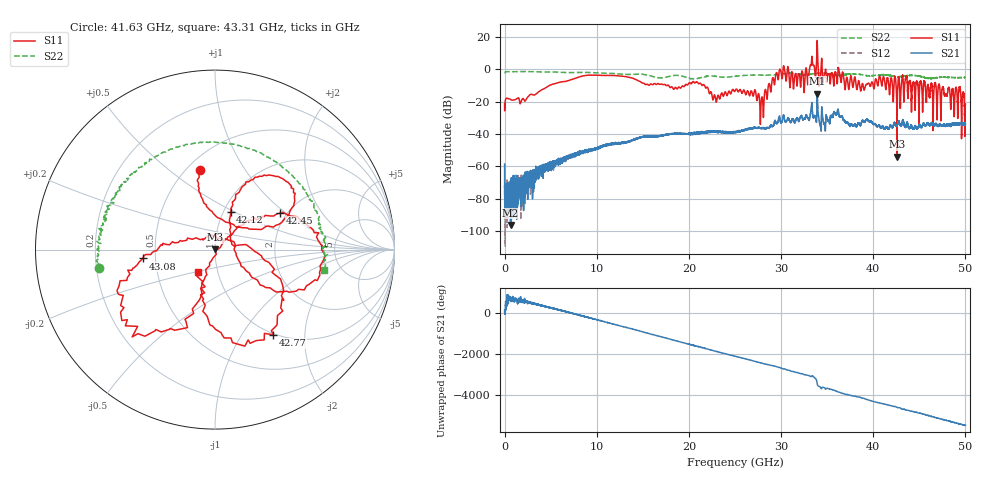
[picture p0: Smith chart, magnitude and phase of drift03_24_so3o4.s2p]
!Created with skrf (http://scikit-rf.org).
# Hz S RI R 50.0
!freq ReS11 ImS11 ReS21 ImS21 ReS12 ImS12 ReS22 ImS22
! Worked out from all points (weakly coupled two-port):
!   10001 points, 300 kHz to 50 GHz, reference 50 ohm
!   highest |S21| = -14.96 dB at 33.92 GHz (marker M1); lowest = -96.2 dB at 645.3 MHz (marker M2)
!   lowest |S11| = -54.1 dB at 42.58 GHz (marker M3), VSWR 1.00, Z = 50.1 + j0.138 ohm
!   |S11| at or under -10 dB: start of sweep to 4.849 GHz; 21.69 GHz to 28.62 GHz (6.933 GHz wide, 27.6 % of centre); 47.19 GHz to end of sweep (the widest 3 of 43)
!   |S22| runs from -5.9 to -1.3 dB; largest |S21 - S12| = 0.022
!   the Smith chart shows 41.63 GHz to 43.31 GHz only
!   S11 on the Smith chart (normalised r, x): 41.63 GHz: 0.58, +0.64; 42.12 GHz: 1.08, +0.48; 42.45 GHz: 1.85, +0.92; 42.77 GHz: 0.98, -1.40; 43.08 GHz: 0.42, -0.05; 43.31 GHz: 0.80, -0.20
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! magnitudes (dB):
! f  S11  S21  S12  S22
! 300 kHz  -21.3  -58.6  -73.8  -2.0
! 255.3 MHz  -17.9  -72.9  -75.6  -1.4
! 645.3 MHz  -18.6  -96.2  -85.4  -1.5
! 8.335 GHz  -4.3  -51.6  -51.4  -1.9
! 16.67 GHz  -8.8  -41.5  -41.4  -5.2
! 21.01 GHz  -8.8  -39.3  -39.4  -5.5
! 22.81 GHz  -16.1  -38.8  -38.8  -4.3
! 25 GHz  -13.4  -38.8  -38.7  -4.3
! 27.92 GHz  -17.2  -36.4  -36.2  -3.5
! 29.69 GHz  -6.5  -32.0  -31.5  -3.1
! 32.32 GHz  -1.5  -30.4  -30.8  -3.3
! 33.34 GHz  8.0  -20.5  -20.8  -2.9
! 33.92 GHz  17.9  -15.0  -15.3  -2.5
! 41.63 GHz  -7.0  -36.9  -36.6  -3.7
! 41.67 GHz  -9.1  -37.0  -36.7  -3.7
! 42.12 GHz  -12.9  -35.5  -35.4  -4.1
! 42.45 GHz  -7.6  -34.8  -34.8  -4.4
! 42.58 GHz  -54.1  -34.9  -34.8  -4.5
! 42.77 GHz  -4.8  -32.1  -32.2  -4.5
! 43.08 GHz  -7.9  -34.5  -34.2  -4.3
! 43.31 GHz  -16.1  -33.1  -33.3  -4.2
! 50 GHz  -21.4  -34.1  -34.1  -5.0
